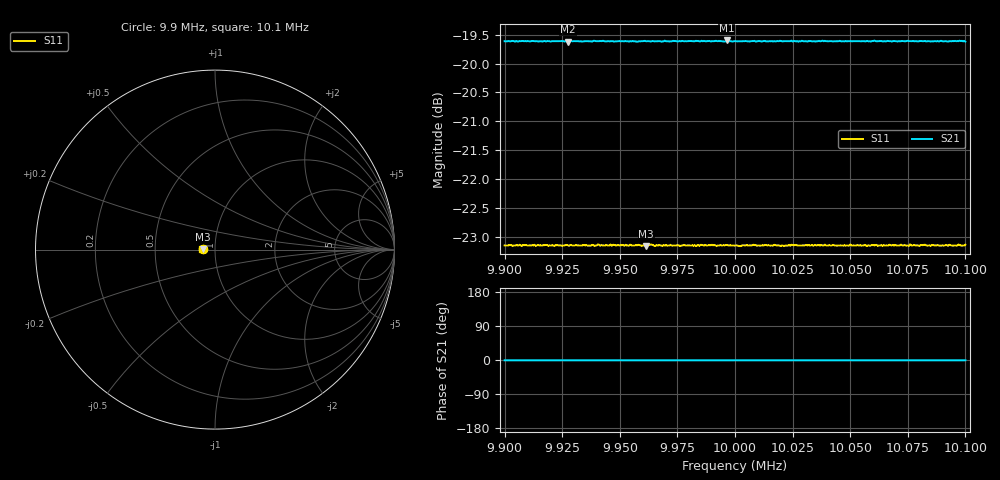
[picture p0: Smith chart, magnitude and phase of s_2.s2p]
! NanoVNA-App
! Date: 2026-10-13 22:18:27
! Start: 9,9MHz Stop: 10,1MHz Points: 401
! S-Parameter data: F S11 S21 S12 S22
# Hz S RI R 50
!  Frequency  S11_Real  S11_Imag  S21_Real  S21_Imag  S12_Real  S12_Imag  S22_Real  S22_Imag
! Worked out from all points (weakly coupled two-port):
!   401 points, 9.9 MHz to 10.1 MHz, reference 50 ohm
!   highest |S21| = -19.60 dB at 9.9965 MHz (marker M1); lowest = -19.6 dB at 9.9275 MHz (marker M2)
!   lowest |S11| = -23.2 dB at 9.9615 MHz (marker M3), VSWR 1.15, Z = 43.5 + j0.325 ohm
!   |S11| at or under -10 dB: start of sweep to end of sweep
!   S12 and S22 are empty: the file has one direction only
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9900000  -0.0695 0.00375  0.1045 -0.0014  0 0  0 0
9927500  -0.0695 0.00387  0.1044 -0.00143  0 0  0 0
9933500  -0.0695 0.00382  0.1045 -0.00134  0 0  0 0
9961500  -0.0694 0.00372  0.1045 -0.00142  0 0  0 0
9963000  -0.0696 0.00385  0.1045 -0.00136  0 0  0 0
9967000  -0.0696 0.00377  0.1046 -0.00136  0 0  0 0
9996500  -0.0696 0.00378  0.1047 -0.00137  0 0  0 0
1e7  -0.0695 0.00382  0.1046 -0.00144  0 0  0 0
1.0002e7  -0.0694 0.00381  0.1045 -0.0014  0 0  0 0
1.0008e7  -0.0696 0.00381  0.1046 -0.00138  0 0  0 0
1.00105e7  -0.0695 0.00372  0.1046 -0.00142  0 0  0 0
1.0018e7  -0.0695 0.00377  0.1045 -0.00139  0 0  0 0
1.00205e7  -0.0695 0.00388  0.1045 -0.00146  0 0  0 0
1.00255e7  -0.0696 0.00379  0.1046 -0.00139  0 0  0 0
1.0028e7  -0.0695 0.00375  0.1046 -0.00144  0 0  0 0
1.00335e7  -0.0696 0.00373  0.1045 -0.00127  0 0  0 0
1.0067e7  -0.0696 0.00372  0.1045 -0.00143  0 0  0 0
1.0079e7  -0.0696 0.00381  0.1045 -0.00147  0 0  0 0
1.00815e7  -0.0696 0.00382  0.1045 -0.00136  0 0  0 0
1.0084e7  -0.0695 0.00369  0.1046 -0.00134  0 0  0 0
1.00955e7  -0.0695 0.00378  0.1046 -0.00139  0 0  0 0
1.01e7  -0.0696 0.00373  0.1045 -0.00138  0 0  0 0
